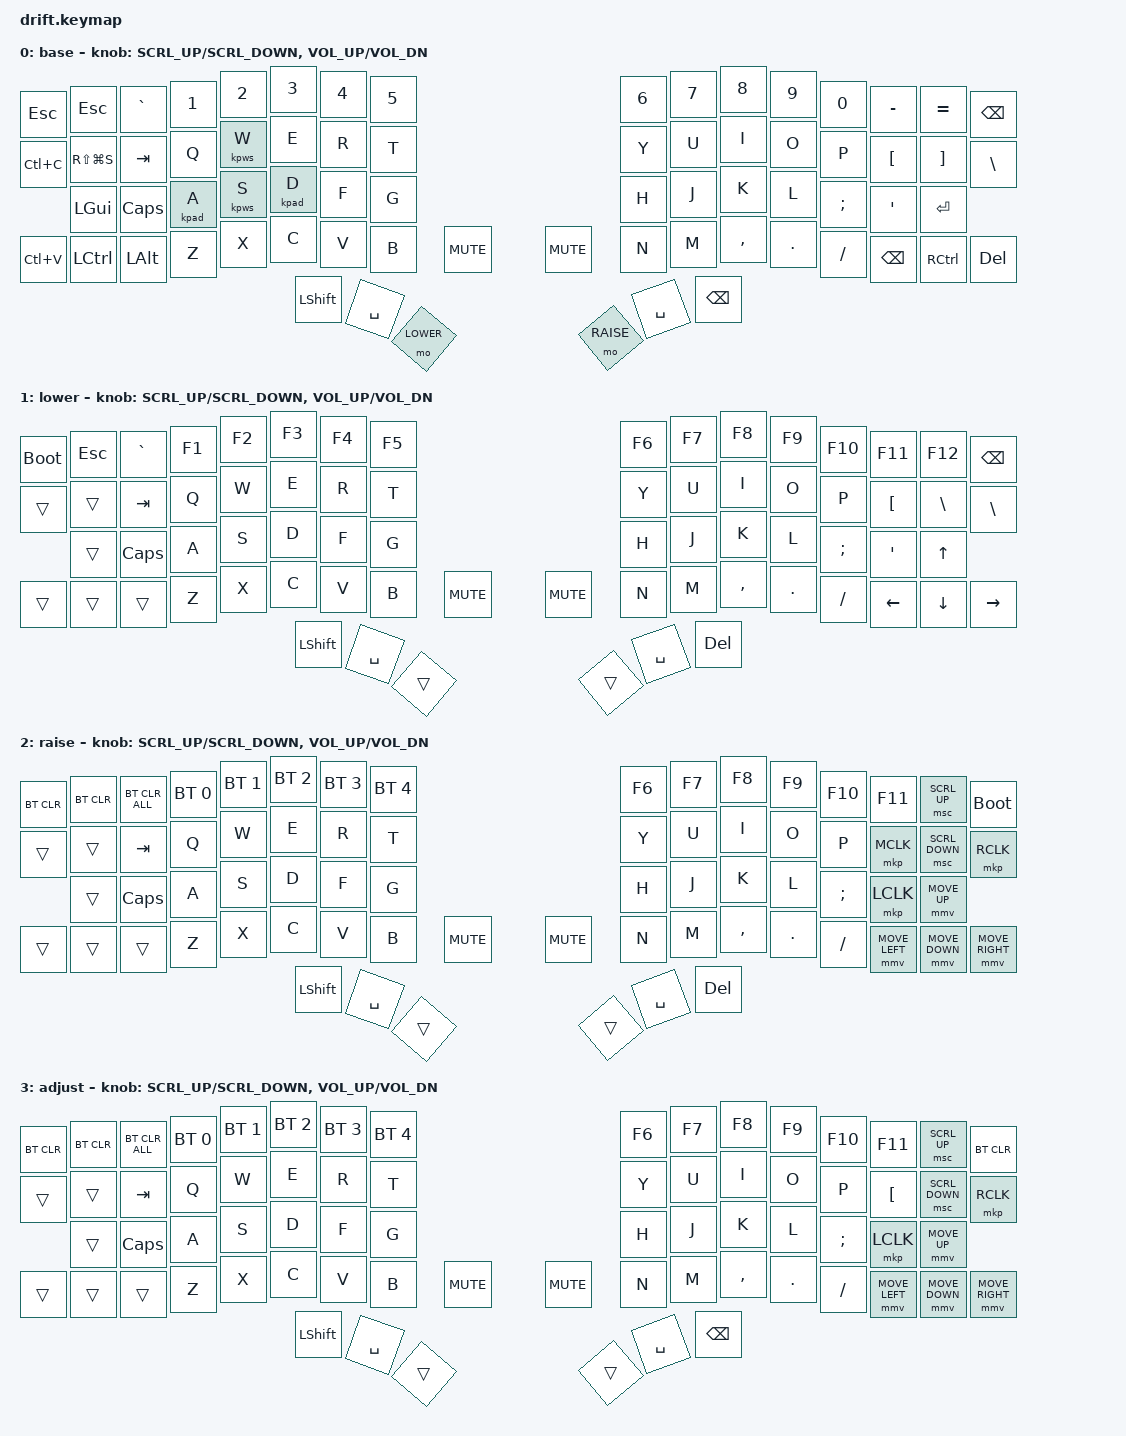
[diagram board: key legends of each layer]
// Copyright (c) 2025 Timception
// SPDX-License-Identifier: MIT

#define ZMK_POINTING_DEFAULT_MOVE_VAL 1500  // default: 600
#define ZMK_POINTING_DEFAULT_SCRL_VAL 120    // default: 10 - for encoder mouse-scroll to work

#include <dt-bindings/zmk/mouse.h>
#include <behaviors.dtsi>
#include <dt-bindings/zmk/bt.h>
#include <dt-bindings/zmk/keys.h>
#include <dt-bindings/zmk/pointing.h>


#define BASE 0
#define LOWER 1
#define RAISE 2
#define ADJUST 3

/ {
    conditional_layers {
        compatible = "zmk,conditional-layers";

        tri_layer {
            if-layers = <LOWER RAISE>;
            then-layer = <ADJUST>;
        };
    };

    behaviors {
        enc_scroll: enc_scroll {
            compatible = "zmk,behavior-sensor-rotate-var";
            #sensor-binding-cells = <2>;
            bindings = <&msc>, <&msc>;
            tap-ms = <20>;
        };

        /* Setup left and right */
        kpad: key_lip_a_d {
                compatible = "zmk,behavior-key-press-lip";
                #binding-cells = <1>;
                keycodes = <A D>;
        };

        /* Setup up and down */
        kpws: key_lip_w_s {
                compatible = "zmk,behavior-key-press-lip";
                #binding-cells = <1>;
                keycodes = <W S>;
        };
    };


    keymap {
        compatible = "zmk,keymap";

        default_layer {
            display-name = "base";

            // ------------------------------------------------------------------------------------------------------------------------------------------
            // | ESC   | ESC    |   `   |  1  |  2  |   3   |   4   |   5   |                   |   6   |   7   |   8   |  9  |  0  |  -  |  =  | BKSPC |
            // |CPY MAC|SCRCAP  | TAB   |  Q  |  W  |   E   |   R   |   T   |                   |   Y   |   U   |   I   |  O  |  P  |  [  |  ]  |   \   |
            //         | GUI    | CAPS  |  A  |  S  |   D   |   F   |   G   |                   |   H   |   J   |   K   |  L  |  ;  |  '  |ENTER|
            // |PST MAC| CTRL   | ALT   |  Z  |  X  |   C   |   V   |   B   |  MUTE  | |  MUTE  |   N   |   M   |   ,   |  .  |  /  |BKSPC|CTRL |  DEL  |
            //                                      | SHIFT | SPACE | LOWER |                   | RAISE | SPACE | BKSPC |

            bindings = <
&kp ESC    &kp ESC        &kp GRAVE  &kp N1         &kp N2     &kp N3         &kp N4     &kp N5                             &kp N6     &kp N7     &kp N8     &kp N9   &kp N0    &kp MINUS      &kp EQUAL  &kp BSPC
&kp LC(C)  &kp RS(LG(S))  &kp TAB    &kp Q          &kpws W    &kp E          &kp R      &kp T                              &kp Y      &kp U      &kp I      &kp O    &kp P     &kp LBKT       &kp RBKT   &kp BSLH
           &kp LGUI       &kp CAPS   &kpad A        &kpws S    &kpad D        &kp F      &kp G                              &kp H      &kp J      &kp K      &kp L    &kp SEMI  &kp SQT        &kp ENTER
&kp LC(V)  &kp LCTRL      &kp LALT   &kp Z          &kp X      &kp C          &kp V      &kp B      &kp C_MUTE  &kp C_MUTE  &kp N      &kp M      &kp COMMA  &kp DOT  &kp FSLH  &kp BACKSPACE  &kp RCTRL  &kp DEL
                                                               &kp LSHFT      &kp SPACE  &mo LOWER                          &mo RAISE  &kp SPACE  &kp BSPC
            >;

            sensor-bindings =
                <&enc_scroll SCRL_UP SCRL_DOWN>,
                <&inc_dec_kp C_VOL_UP C_VOL_DN>;
        };

        lower_layer {
            display-name = "lower";

            // --------------------------------------------------------------------------------------------------------------------------------------------
            // |BOOTLOADER| ESC    |   `   | F1 |  F2 |   F3  |   F4  |   F5  |                   |   F6  |   F7  |   F8  |  F9 | F10 |  F11 | F12  | BKSPC |
            // |  COPY    | SCRCAP | TAB   | Q  |  W  |   E   |   R   |   T   |                   |   Y   |   U   |   I   |  O  |  P  |   [  |  ]   |   \   |
            //            | GUI    | CAPS  | A  |  S  |   D   |   F   |   G   |                   |   H   |   J   |   K   |  L  |  ;  |   '  |  UP  |
            // |  PASTE   | CTRL   | SHIFT | Z  |  X  |   C   |   V   |   B   |  MUTE  | |  MUTE  |   N   |   M   |   ,   |  .  |  /  | LEFT | DOWN | RIGHT |
            //                                        | SHIFT | SPACE | LOWER |                   | RAISE | SPACE | BKSPC |

            bindings = <
&bootloader  &kp ESC    &kp GRAVE  &kp F1  &kp F2  &kp F3     &kp F4     &kp F5                          &kp F6  &kp F7     &kp F8     &kp F9   &kp F10   &kp F11   &kp F12        &kp BSPC
&trans       &trans     &kp TAB    &kp Q   &kp W   &kp E      &kp R      &kp T                           &kp Y   &kp U      &kp I      &kp O    &kp P     &kp LBKT  &kp BACKSLASH  &kp BSLH
             &trans     &kp CAPS   &kp A   &kp S   &kp D      &kp F      &kp G                           &kp H   &kp J      &kp K      &kp L    &kp SEMI  &kp SQT   &kp UP
&trans       &trans     &trans     &kp Z   &kp X   &kp C      &kp V      &kp B   &kp C_MUTE  &kp C_MUTE  &kp N   &kp M      &kp COMMA  &kp DOT  &kp FSLH  &kp LEFT  &kp DOWN       &kp RIGHT
                                                   &kp LSHFT  &kp SPACE  &trans                          &trans  &kp SPACE  &kp DEL
            >;

            sensor-bindings =
                <&enc_scroll SCRL_UP SCRL_DOWN>,
                <&inc_dec_kp C_VOL_UP C_VOL_DN>;
        };

        raise_layer {
            display-name = "raise";

            // ----------------------------------------------------------------------------------------------------------------------------------------------
            // | CLEAR | CLEAR  | CLEAR ALL | BT1 |  BT2 |  BT3  |  BT4  |  BT5  |                   |   F6  |   F7  |   F8  |  F9 | F10 |  F11       |  SCROLL UP  |  BOOTLOADER |
            // | COPY  | SCRCAP | TAB       | Q   |  W   |   E   |   R   |   T   |                   |   Y   |   U   |   I   |  O  |  P  |   [        | SCROLL DOWN | RIGHT CLICK |
            //         | GUI    | CAPS      | A   |  S   |   D   |   F   |   G   |                   |   H   |   J   |   K   |  L  |  ;  | LEFT CLICK |   MOUSE UP  |
            // | PASTE | CTRL   | SHIFT     | Z   |  X   |   C   |   V   |   B   |  MUTE  | |  MUTE  |   N   |   M   |   ,   |  .  |  /  | MOUSE LEFT |  MOUSE DOWN | MOUSE RIGHT |
            //                                           | SHIFT | SPACE | LOWER |                   | RAISE | SPACE | BKSPC |

            bindings = <
&bt BT_CLR  &bt BT_CLR  &bt BT_CLR_ALL  &bt BT_SEL 0  &bt BT_SEL 1  &bt BT_SEL 2  &bt BT_SEL 3  &bt BT_SEL 4                          &kp F6  &kp F7     &kp F8     &kp F9   &kp F10   &kp F11         &msc SCRL_UP    &bootloader
&trans      &trans      &kp TAB         &kp Q         &kp W         &kp E         &kp R         &kp T                                 &kp Y   &kp U      &kp I      &kp O    &kp P     &mkp MCLK       &msc SCRL_DOWN  &mkp RCLK
            &trans      &kp CAPS        &kp A         &kp S         &kp D         &kp F         &kp G                                 &kp H   &kp J      &kp K      &kp L    &kp SEMI  &mkp LCLK       &mmv MOVE_UP
&trans      &trans      &trans          &kp Z         &kp X         &kp C         &kp V         &kp B         &kp C_MUTE  &kp C_MUTE  &kp N   &kp M      &kp COMMA  &kp DOT  &kp FSLH  &mmv MOVE_LEFT  &mmv MOVE_DOWN  &mmv MOVE_RIGHT
                                                                    &kp LSHFT     &kp SPACE     &trans                                &trans  &kp SPACE  &kp DEL
            >;

            sensor-bindings =
                <&enc_scroll SCRL_UP SCRL_DOWN>,
                <&inc_dec_kp C_VOL_UP C_VOL_DN>;
        };

        adjust_layer {
            // ----------------------------------------------------------------------------------------------------------------------------------------------
            // | CLEAR | CLEAR  | CLEAR ALL | BT1 |  BT2 |  BT3  |  BT4  |  BT5  |                   |   F6  |   F7  |   F8  |  F9 | F10 |  F11       |  SCROLL UP  |   CLEAR     |
            // | COPY  | SCRCAP | TAB       | Q   |  W   |   E   |   R   |   T   |                   |   Y   |   U   |   I   |  O  |  P  |   [        | SCROLL DOWN | RIGHT CLICK |
            //         | GUI    | CAPS      | A   |  S   |   D   |   F   |   G   |                   |   H   |   J   |   K   |  L  |  ;  | LEFT CLICK |   MOUSE UP  |
            // | PASTE | CTRL   | SHIFT     | Z   |  X   |   C   |   V   |   B   |  MUTE  | |  MUTE  |   N   |   M   |   ,   |  .  |  /  | MOUSE LEFT |  MOUSE DOWN | MOUSE RIGHT |
            //                                           | SHIFT | SPACE | LOWER |                   | RAISE | SPACE | BKSPC |

            display-name = "adjust";
            bindings = <
&bt BT_CLR  &bt BT_CLR  &bt BT_CLR_ALL  &bt BT_SEL 0  &bt BT_SEL 1  &bt BT_SEL 2  &bt BT_SEL 3  &bt BT_SEL 4                          &kp F6  &kp F7     &kp F8     &kp F9   &kp F10   &kp F11         &msc SCRL_UP    &bt BT_CLR
&trans      &trans      &kp TAB         &kp Q         &kp W         &kp E         &kp R         &kp T                                 &kp Y   &kp U      &kp I      &kp O    &kp P     &kp LBKT        &msc SCRL_DOWN  &mkp RCLK
            &trans      &kp CAPS        &kp A         &kp S         &kp D         &kp F         &kp G                                 &kp H   &kp J      &kp K      &kp L    &kp SEMI  &mkp LCLK       &mmv MOVE_UP
&trans      &trans      &trans          &kp Z         &kp X         &kp C         &kp V         &kp B         &kp C_MUTE  &kp C_MUTE  &kp N   &kp M      &kp COMMA  &kp DOT  &kp FSLH  &mmv MOVE_LEFT  &mmv MOVE_DOWN  &mmv MOVE_RIGHT
                                                                    &kp LSHFT     &kp SPACE     &trans                                &trans  &kp SPACE  &kp BSPC
            >;

            sensor-bindings =
                <&enc_scroll SCRL_UP SCRL_DOWN>,
                <&inc_dec_kp C_VOL_UP C_VOL_DN>;
        };
    };
};
